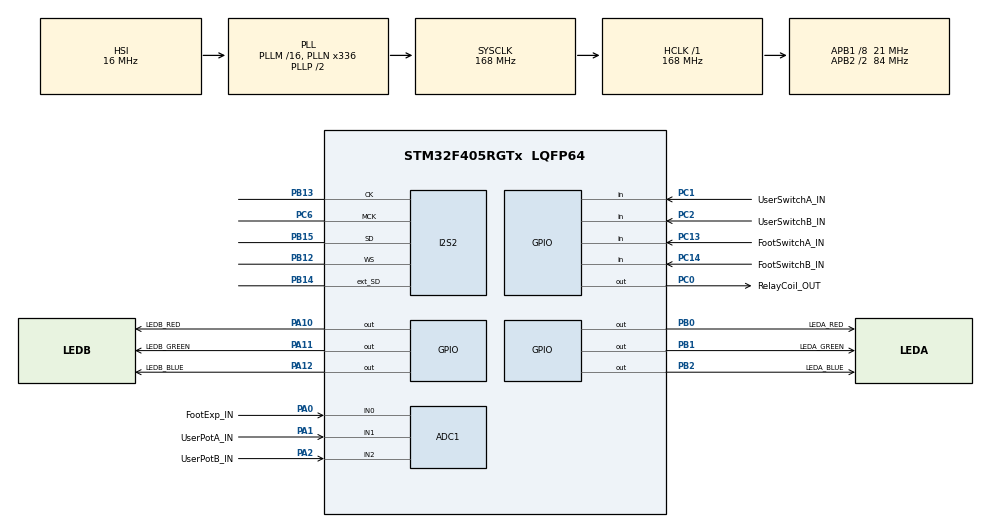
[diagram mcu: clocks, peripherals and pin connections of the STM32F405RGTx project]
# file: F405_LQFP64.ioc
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ADC1.Channel-0\#ChannelRegularConversion=ADC_CHANNEL_0
ADC1.NbrOfConversionFlag=1
ADC1.Rank-0\#ChannelRegularConversion=1
ADC1.SamplingTime-0\#ChannelRegularConversion=ADC_SAMPLETIME_3CYCLES
ADC1.master=1
Dma.I2S2_EXT_RX.0.Direction=DMA_PERIPH_TO_MEMORY
Dma.I2S2_EXT_RX.0.FIFOMode=DMA_FIFOMODE_DISABLE
Dma.I2S2_EXT_RX.0.Instance=DMA1_Stream3
Dma.I2S2_EXT_RX.0.MemDataAlignment=DMA_MDATAALIGN_HALFWORD
Dma.I2S2_EXT_RX.0.MemInc=DMA_MINC_ENABLE
Dma.I2S2_EXT_RX.0.Mode=DMA_CIRCULAR
Dma.I2S2_EXT_RX.0.PeriphDataAlignment=DMA_PDATAALIGN_HALFWORD
Dma.I2S2_EXT_RX.0.PeriphInc=DMA_PINC_DISABLE
Dma.I2S2_EXT_RX.0.Priority=DMA_PRIORITY_LOW
Dma.Request0=I2S2_EXT_RX
Dma.Request1=SPI2_TX
Dma.SPI2_TX.1.Direction=DMA_MEMORY_TO_PERIPH
Dma.SPI2_TX.1.FIFOMode=DMA_FIFOMODE_DISABLE
Dma.SPI2_TX.1.Instance=DMA1_Stream4
Dma.SPI2_TX.1.MemDataAlignment=DMA_MDATAALIGN_HALFWORD
Dma.SPI2_TX.1.MemInc=DMA_MINC_ENABLE
Dma.SPI2_TX.1.Mode=DMA_CIRCULAR
Dma.SPI2_TX.1.PeriphDataAlignment=DMA_PDATAALIGN_HALFWORD
Dma.SPI2_TX.1.PeriphInc=DMA_PINC_DISABLE
Dma.SPI2_TX.1.Priority=DMA_PRIORITY_LOW
I2S2.AudioFreq=I2S_AUDIOFREQ_96K
I2S2.DataFormat=I2S_DATAFORMAT_24B
I2S2.ErrorAudioFreq=-2.34 %
I2S2.FullDuplexMode=I2S_FULLDUPLEXMODE_ENABLE
I2S2.Instance=SPI$Index
I2S2.RealAudioFreq=93.75 KHz
I2S2.VirtualMode=I2S_MODE_MASTER
Mcu.Family=STM32F4
Mcu.Name=STM32F405RGTx
Mcu.Package=LQFP64
NVIC.DMA1_Stream3_IRQn=true\:0\:0\:false\:false\:true\:false\:true
NVIC.DMA1_Stream4_IRQn=true\:0\:0\:false\:false\:true\:false\:true
NVIC.PriorityGroup=NVIC_PRIORITYGROUP_4
PA0-WKUP.GPIO_Label=FootExp_IN
PA0-WKUP.Signal=ADCx_IN0
PA1.GPIO_Label=UserPotA_IN
PA1.Signal=ADCx_IN1
PA10.GPIO_Label=LEDB_RED
PA10.Signal=GPIO_Output
PA11.GPIO_Label=LEDB_GREEN
PA11.Signal=GPIO_Output
PA12.GPIO_Label=LEDB_BLUE
PA12.Signal=GPIO_Output
PA13.Mode=Trace_Asynchronous_SW
PA13.Signal=SYS_JTMS-SWDIO
PA14.Mode=Trace_Asynchronous_SW
PA14.Signal=SYS_JTCK-SWCLK
PA2.GPIO_Label=UserPotB_IN
PA2.Signal=ADCx_IN2
PB0.GPIO_Label=LEDA_RED
PB0.Signal=GPIO_Output
PB1.GPIO_Label=LEDA_GREEN
PB1.Signal=GPIO_Output
PB12.Mode=Full_Duplex_Master
PB12.Signal=I2S2_WS
PB13.Mode=Full_Duplex_Master
PB13.Signal=I2S2_CK
PB14.Mode=Full_Duplex_Master
PB14.Signal=I2S2_ext_SD
PB15.Mode=Full_Duplex_Master
PB15.Signal=I2S2_SD
PB2.GPIO_Label=LEDA_BLUE
PB2.Signal=GPIO_Output
PB3.Mode=Trace_Asynchronous_SW
PB3.Signal=SYS_JTDO-SWO
PC0.GPIO_Label=RelayCoil_OUT
PC0.Signal=GPIO_Output
PC1.GPIO_Label=UserSwitchA_IN
PC1.Signal=GPIO_Input
PC13-ANTI_TAMP.GPIO_Label=FootSwitchA_IN
PC13-ANTI_TAMP.Signal=GPIO_Input
PC14-OSC32_IN.GPIO_Label=FootSwitchB_IN
PC14-OSC32_IN.Signal=GPIO_Input
PC2.GPIO_Label=UserSwitchB_IN
PC2.Signal=GPIO_Input
PC6.Mode=Master_Clock_Activated
PC6.Signal=I2S2_MCK
ProjectManager.HeapSize=0x200
ProjectManager.StackSize=0x400
ProjectManager.TargetToolchain=STM32CubeIDE
RCC.48MHZClocksFreq_Value=84000000
RCC.AHBFreq_Value=168000000
RCC.APB1CLKDivider=RCC_HCLK_DIV8
RCC.APB1Freq_Value=21000000
RCC.APB1TimFreq_Value=42000000
RCC.APB2CLKDivider=RCC_HCLK_DIV2
RCC.APB2Freq_Value=84000000
RCC.APB2TimFreq_Value=168000000
RCC.CortexFreq_Value=168000000
RCC.HCLKFreq_Value=168000000
RCC.HSE_VALUE=25000000
RCC.HSI_VALUE=16000000
RCC.LSE_VALUE=32768
RCC.PLLI2SN=384
RCC.PLLN=336
RCC.SYSCLKFreq_VALUE=168000000
RCC.SYSCLKSource=RCC_SYSCLKSOURCE_PLLCLK
RCC.VCOOutputFreq_Value=336000000
SH.ADCx_IN0.0=ADC1_IN0,IN0
SH.ADCx_IN1.0=ADC1_IN1,IN1
SH.ADCx_IN2.0=ADC1_IN2,IN2
board=custom

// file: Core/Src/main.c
/* USER CODE BEGIN Header */
/**
  ******************************************************************************
  * @file           : main.c
  * @brief          : Main program body
  ******************************************************************************
  * @attention
  *
  * <h2><center>&copy; Copyright (c) 2020 STMicroelectronics.
  * All rights reserved.</center></h2>
  *
  * This software component is licensed by ST under BSD 3-Clause license,
  * the "License"; You may not use this file except in compliance with the
  * License. You may obtain a copy of the License at:
  *                        opensource.org/licenses/BSD-3-Clause
  *
  ******************************************************************************
  */
/* USER CODE END Header */
#include "main.h"
#include "adc.h"
#include "dma.h"
#include "i2s.h"
#include "gpio.h"

/* USER CODE BEGIN Includes */
#include <math.h>
#include <stdio.h>
/* USER CODE END Includes */

/* USER CODE BEGIN PD */
#define BufSize 1000
#define Overlap 100

#define ADC_DATA_LEN 32
/* USER CODE END PD */

/* USER CODE BEGIN PV */

int Buf[BufSize];

int WtrP;
float Rd_P;
float Shift;
float CrossFade;
float a0, a1, a2, b1, b2, hp_in_z1, hp_in_z2, hp_out_z1, hp_out_z2;

uint32_t adc_data_in = 2048;
uint32_t adc_dma_data_in[ADC_DATA_LEN] = {};

uint16_t rxBuf[8];
uint16_t txBuf[8];

/* USER CODE END PV */

void SystemClock_Config(void);

/* USER CODE BEGIN 0 */

int _write(int file, char *ptr, int len)
{
  /* Implement your write code here, this is used by puts and printf for example */
  int i=0;
  for(i=0 ; i<len ; i++)
    ITM_SendChar((*ptr++));
  return len;
}

float calc_adc_oversample()
{
	float adc_samples_avg = 0.0;
	float adc_samples_sum = 0.0;

	for(int i=0; i<ADC_DATA_LEN; i++)
	{
		adc_samples_sum += adc_dma_data_in[i];
	}
	adc_samples_avg = adc_samples_sum / ADC_DATA_LEN;

	return adc_samples_avg;
}

int Do_HighPass (int inSample) {

	//Shift = adc_data_in/100;
	//300Hz high-pass, 96k
	a0 = 0.9862117951198142f;
	a1 = -1.9724235902396283f;
	a2 = 0.9862117951198142f;
	b1 = -1.972233470205696f;
	b2 = 0.9726137102735608f;

	float inSampleF = (float)inSample;
	float outSampleF =
			a0 * inSampleF
			+ a1 * hp_in_z1
			+ a2 * hp_in_z2
			- b1 * hp_out_z1
			- b2 * hp_out_z2;
	hp_in_z2 = hp_in_z1;
	hp_in_z1 = inSampleF;
	hp_out_z2 = hp_out_z1;
	hp_out_z1 = outSampleF;

	return (int) outSampleF;
}

int Do_PitchShift(int lSample, int rSample) {
	int sum = lSample + rSample;
	//sum up and do high-pass
	sum=Do_HighPass(sum);

	//write to ringbuffer
	Buf[WtrP] = sum;

	//read fractional readpointer and generate 0° and 180° read-pointer in integer
	int RdPtr_Int = roundf(Rd_P);
	int RdPtr_Int2 = 0;
	if (RdPtr_Int >= BufSize/2) RdPtr_Int2 = RdPtr_Int - (BufSize/2);
	else RdPtr_Int2 = RdPtr_Int + (BufSize/2);

	//read the two samples...
	float Rd0 = (float) Buf[RdPtr_Int];
	float Rd1 = (float) Buf[RdPtr_Int2];

	//Check if first readpointer starts overlap with write pointer?
	// if yes -> do cross-fade to second read-pointer
	if (Overlap >= (WtrP-RdPtr_Int) && (WtrP-RdPtr_Int) >= 0 && Shift!=1.0f) {
		int rel = WtrP-RdPtr_Int;
		CrossFade = ((float)rel)/(float)Overlap;
	}
	else if (WtrP-RdPtr_Int == 0) CrossFade = 0.0f;

	//Check if second readpointer starts overlap with write pointer?
	// if yes -> do cross-fade to first read-pointer
	if (Overlap >= (WtrP-RdPtr_Int2) && (WtrP-RdPtr_Int2) >= 0 && Shift!=1.0f) {
			int rel = WtrP-RdPtr_Int2;
			CrossFade = 1.0f - ((float)rel)/(float)Overlap;
		}
	else if (WtrP-RdPtr_Int2 == 0) CrossFade = 1.0f;

	//do cross-fading and sum up
	sum = (Rd0*CrossFade + Rd1*(1.0f-CrossFade));

	//increment fractional read-pointer and write-pointer
	Rd_P += Shift;
	WtrP++;
	if (WtrP == BufSize) WtrP = 0;
	if (roundf(Rd_P) >= BufSize) Rd_P = 0.0f;

	return sum;

}

void HAL_I2SEx_TxRxHalfCpltCallback(I2S_HandleTypeDef *hi2s){

	//restore signed 24 bit sample from 16-bit buffers
	int lSample = (int) (rxBuf[0]<<16)|rxBuf[1];
	int rSample = (int) (rxBuf[2]<<16)|rxBuf[3];

	int ret_sample = Do_PitchShift(lSample, rSample);
	lSample = ret_sample;
	rSample = ret_sample;

	//restore to buffer
	txBuf[0] = (lSample>>16)&0xFFFF;
	txBuf[1] = lSample&0xFFFF;
	txBuf[2] = (rSample>>16)&0xFFFF;
	txBuf[3] = rSample&0xFFFF;

}

void HAL_I2SEx_TxRxCpltCallback(I2S_HandleTypeDef *hi2s){

	//restore signed 24 bit sample from 16-bit buffers
	int lSample = (int) (rxBuf[4]<<16)|rxBuf[5];
	int rSample = (int) (rxBuf[6]<<16)|rxBuf[7];

	//printf("%i\n", lSample);

	int ret_sample = Do_PitchShift(lSample, rSample);
	lSample = ret_sample;
	rSample = ret_sample;

	//restore to buffer
	txBuf[4] = (lSample>>16)&0xFFFF;
	txBuf[5] = lSample&0xFFFF;
	txBuf[6] = (rSample>>16)&0xFFFF;
	txBuf[7] = rSample&0xFFFF;

}

/* USER CODE END 0 */

int main(void)
{

  /* MCU Configuration--------------------------------------------------------*/

  /* Reset of all peripherals, Initializes the Flash interface and the Systick. */
  HAL_Init();

  /* Configure the system clock */
  SystemClock_Config();

  /* Initialize all configured peripherals */
  MX_GPIO_Init();
  MX_DMA_Init();
  MX_ADC1_Init();
  MX_I2S2_Init();
  /* USER CODE BEGIN 2 */

  HAL_I2SEx_TransmitReceive_DMA (&hi2s2, txBuf, rxBuf, 4);

	//0°
	WtrP = 0;

	Rd_P = 0.0f;
	Shift = 1.4f;
	CrossFade = 1.0f;
  /* USER CODE END 2 */

  /* Infinite loop */
  /* USER CODE BEGIN WHILE */
  while (1)
  {

	  //HAL_GPIO_TogglePin(RelayCoil_OUT_GPIO_Port, RelayCoil_OUT_Pin);
	  //HAL_Delay(1000);
/*	  HAL_GPIO_TogglePin(LEDA_RED_GPIO_Port, LEDA_RED_Pin);
	  HAL_GPIO_TogglePin(LEDB_RED_GPIO_Port, LEDB_RED_Pin);
	  HAL_Delay(1000);
	  HAL_GPIO_TogglePin(LEDA_RED_GPIO_Port, LEDA_RED_Pin);
	  HAL_GPIO_TogglePin(LEDB_RED_GPIO_Port, LEDB_RED_Pin);

	  HAL_GPIO_TogglePin(LEDA_GREEN_GPIO_Port, LEDA_GREEN_Pin);
	  HAL_GPIO_TogglePin(LEDB_GREEN_GPIO_Port, LEDB_GREEN_Pin);
	  HAL_Delay(1000);
	  HAL_GPIO_TogglePin(LEDA_GREEN_GPIO_Port, LEDA_GREEN_Pin);
	  HAL_GPIO_TogglePin(LEDB_GREEN_GPIO_Port, LEDB_GREEN_Pin);

	  HAL_GPIO_TogglePin(LEDA_BLUE_GPIO_Port, LEDA_BLUE_Pin);
	  HAL_GPIO_TogglePin(LEDB_BLUE_GPIO_Port, LEDB_BLUE_Pin);
	  HAL_Delay(1000);
	  HAL_GPIO_TogglePin(LEDA_BLUE_GPIO_Port, LEDA_BLUE_Pin);
	  HAL_GPIO_TogglePin(LEDB_BLUE_GPIO_Port, LEDB_BLUE_Pin);
*/

    /* USER CODE END WHILE */

  }
}

void SystemClock_Config(void)
{
  RCC_OscInitTypeDef RCC_OscInitStruct = {0};
  RCC_ClkInitTypeDef RCC_ClkInitStruct = {0};
  RCC_PeriphCLKInitTypeDef PeriphClkInitStruct = {0};

  /** Configure the main internal regulator output voltage
  */
  __HAL_RCC_PWR_CLK_ENABLE();
  __HAL_PWR_VOLTAGESCALING_CONFIG(PWR_REGULATOR_VOLTAGE_SCALE1);
  /** Initializes the RCC Oscillators according to the specified parameters
  * in the RCC_OscInitTypeDef structure.
  */
  RCC_OscInitStruct.OscillatorType = RCC_OSCILLATORTYPE_HSI;
  RCC_OscInitStruct.HSIState = RCC_HSI_ON;
  RCC_OscInitStruct.HSICalibrationValue = RCC_HSICALIBRATION_DEFAULT;
  RCC_OscInitStruct.PLL.PLLState = RCC_PLL_ON;
  RCC_OscInitStruct.PLL.PLLSource = RCC_PLLSOURCE_HSI;
  RCC_OscInitStruct.PLL.PLLM = 16;
  RCC_OscInitStruct.PLL.PLLN = 336;
  RCC_OscInitStruct.PLL.PLLP = RCC_PLLP_DIV2;
  RCC_OscInitStruct.PLL.PLLQ = 4;
  if (HAL_RCC_OscConfig(&RCC_OscInitStruct) != HAL_OK)
  {
    Error_Handler();
  }
  /** Initializes the CPU, AHB and APB buses clocks
  */
  RCC_ClkInitStruct.ClockType = RCC_CLOCKTYPE_HCLK|RCC_CLOCKTYPE_SYSCLK
                              |RCC_CLOCKTYPE_PCLK1|RCC_CLOCKTYPE_PCLK2;
  RCC_ClkInitStruct.SYSCLKSource = RCC_SYSCLKSOURCE_PLLCLK;
  RCC_ClkInitStruct.AHBCLKDivider = RCC_SYSCLK_DIV1;
  RCC_ClkInitStruct.APB1CLKDivider = RCC_HCLK_DIV8;
  RCC_ClkInitStruct.APB2CLKDivider = RCC_HCLK_DIV2;

  if (HAL_RCC_ClockConfig(&RCC_ClkInitStruct, FLASH_LATENCY_5) != HAL_OK)
  {
    Error_Handler();
  }
  PeriphClkInitStruct.PeriphClockSelection = RCC_PERIPHCLK_I2S;
  PeriphClkInitStruct.PLLI2S.PLLI2SN = 192;
  PeriphClkInitStruct.PLLI2S.PLLI2SR = 2;
  if (HAL_RCCEx_PeriphCLKConfig(&PeriphClkInitStruct) != HAL_OK)
  {
    Error_Handler();
  }
}

void Error_Handler(void)
{
}

/************************ (C) COPYRIGHT STMicroelectronics *****END OF FILE****/
